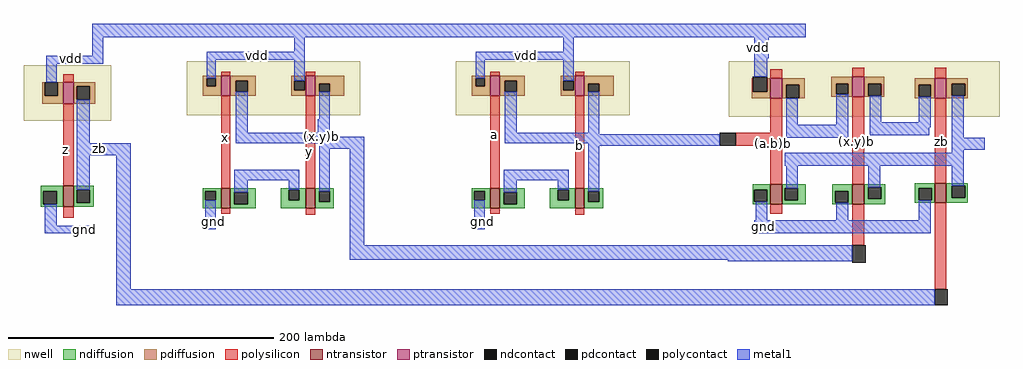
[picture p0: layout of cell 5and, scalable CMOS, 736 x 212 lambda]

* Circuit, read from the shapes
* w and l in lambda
.subckt 5and a b finalout gnd vdd x y z zb
M1 zb z gnd VSUBS nfet w=16 l=8
M2 n1 x gnd VSUBS nfet w=15 l=7
M3 n2 y n1 VSUBS nfet w=15 l=7
M4 n3 a gnd VSUBS nfet w=15 l=7
M5 n4 b n3 VSUBS nfet w=15 l=7
M6 finalout n4 gnd VSUBS nfet w=15 l=9
M7 finalout n2 gnd VSUBS nfet w=15 l=9
M8 finalout zb gnd VSUBS nfet w=15 l=9
M9 zb z vdd n5 pfet w=16 l=8
M10 n2 x vdd n6 pfet w=15 l=7
M11 n2 y vdd n6 pfet w=15 l=7
M12 n4 a vdd n7 pfet w=15 l=7
M13 n4 b vdd n7 pfet w=15 l=7
M14 n8 n4 vdd n9 pfet w=15 l=9
M15 n10 n2 n8 n9 pfet w=15 l=9
M16 finalout zb n10 n9 pfet w=15 l=9
.ends

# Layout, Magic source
magic
tech scmos
<< nwell >>
rect -187 -4 -121 38
rect -64 0 67 41
rect 139 0 270 41
rect 345 -1 549 41
<< ntransistor >>
rect -157 -69 -149 -53
rect -38 -70 -31 -55
rect 26 -70 33 -55
rect 165 -70 172 -55
rect 229 -70 236 -55
rect 376 -67 385 -52
rect 438 -67 447 -52
rect 500 -66 509 -51
<< ptransistor >>
rect -157 9 -149 25
rect -38 15 -31 30
rect 26 15 33 30
rect 165 15 172 30
rect 229 15 236 30
rect 376 13 385 28
rect 438 14 447 29
rect 500 13 509 28
<< ndiffusion >>
rect -174 -57 -157 -53
rect -174 -67 -172 -57
rect -162 -67 -157 -57
rect -174 -69 -157 -67
rect -149 -56 -134 -53
rect -149 -66 -147 -56
rect -137 -66 -134 -56
rect -149 -69 -134 -66
rect -52 -57 -38 -55
rect -52 -64 -50 -57
rect -42 -64 -38 -57
rect -52 -70 -38 -64
rect -31 -58 -12 -55
rect -31 -67 -28 -58
rect -18 -67 -12 -58
rect -31 -70 -12 -67
rect 7 -56 26 -55
rect 7 -64 13 -56
rect 21 -64 26 -56
rect 7 -70 26 -64
rect 33 -57 47 -55
rect 33 -65 36 -57
rect 44 -65 47 -57
rect 33 -70 47 -65
rect 151 -57 165 -55
rect 151 -64 153 -57
rect 161 -64 165 -57
rect 151 -70 165 -64
rect 172 -58 191 -55
rect 172 -67 175 -58
rect 185 -67 191 -58
rect 172 -70 191 -67
rect 210 -56 229 -55
rect 210 -64 216 -56
rect 224 -64 229 -56
rect 210 -70 229 -64
rect 236 -57 250 -55
rect 236 -65 239 -57
rect 247 -65 250 -57
rect 236 -70 250 -65
rect 363 -56 376 -52
rect 363 -65 364 -56
rect 374 -65 376 -56
rect 363 -67 376 -65
rect 385 -55 403 -52
rect 385 -64 387 -55
rect 397 -64 403 -55
rect 385 -67 403 -64
rect 423 -57 438 -52
rect 423 -66 425 -57
rect 435 -66 438 -57
rect 423 -67 438 -66
rect 447 -54 463 -52
rect 447 -63 450 -54
rect 460 -63 463 -54
rect 447 -67 463 -63
rect 485 -55 500 -51
rect 485 -64 488 -55
rect 498 -64 500 -55
rect 485 -66 500 -64
rect 509 -53 525 -51
rect 509 -62 513 -53
rect 523 -62 525 -53
rect 509 -66 525 -62
<< pdiffusion >>
rect -52 28 -38 30
rect -173 15 -171 25
rect -161 15 -157 25
rect -173 9 -157 15
rect -149 22 -133 25
rect -149 12 -147 22
rect -137 12 -133 22
rect -52 22 -49 28
rect -42 22 -38 28
rect -52 15 -38 22
rect -31 26 -12 30
rect -31 18 -27 26
rect -18 18 -12 26
rect -31 15 -12 18
rect 15 26 26 30
rect 15 19 17 26
rect 25 19 26 26
rect 15 15 26 19
rect 33 24 55 30
rect 33 18 36 24
rect 44 18 55 24
rect 33 15 55 18
rect 151 28 165 30
rect 151 22 154 28
rect 161 22 165 28
rect 151 15 165 22
rect 172 26 191 30
rect 172 18 176 26
rect 185 18 191 26
rect 172 15 191 18
rect 218 26 229 30
rect 218 19 220 26
rect 228 19 229 26
rect 218 15 229 19
rect 236 24 258 30
rect 236 18 239 24
rect 247 18 258 24
rect 236 15 258 18
rect 362 18 363 28
rect 374 18 376 28
rect -149 9 -133 12
rect 362 13 376 18
rect 385 23 402 28
rect 385 13 388 23
rect 398 13 402 23
rect 422 24 438 29
rect 422 16 426 24
rect 435 16 438 24
rect 422 14 438 16
rect 447 24 462 29
rect 447 15 450 24
rect 460 15 462 24
rect 447 14 462 15
rect 485 23 500 28
rect 485 14 488 23
rect 497 14 500 23
rect 485 13 500 14
rect 509 24 525 28
rect 509 15 513 24
rect 523 15 525 24
rect 509 13 525 15
<< ndcontact >>
rect -172 -67 -162 -57
rect -147 -66 -137 -56
rect -50 -64 -42 -57
rect -28 -67 -18 -58
rect 13 -64 21 -56
rect 36 -65 44 -57
rect 153 -64 161 -57
rect 175 -67 185 -58
rect 216 -64 224 -56
rect 239 -65 247 -57
rect 364 -65 374 -56
rect 387 -64 397 -55
rect 425 -66 435 -57
rect 450 -63 460 -54
rect 488 -64 498 -55
rect 513 -62 523 -53
<< pdcontact >>
rect -171 15 -161 25
rect -147 12 -137 22
rect -49 22 -42 28
rect -27 18 -18 26
rect 17 19 25 26
rect 36 18 44 24
rect 154 22 161 28
rect 176 18 185 26
rect 220 19 228 26
rect 239 18 247 24
rect 363 18 374 29
rect 388 13 398 23
rect 426 16 435 24
rect 450 15 460 24
rect 488 14 497 23
rect 513 15 523 24
<< polysilicon >>
rect -157 25 -149 31
rect -38 30 -31 33
rect 26 30 33 33
rect 165 30 172 33
rect 229 30 236 33
rect 376 28 385 35
rect 438 29 447 36
rect -157 -53 -149 9
rect -38 -55 -31 15
rect 26 -55 33 15
rect 165 -55 172 15
rect 229 -55 236 15
rect 500 28 509 36
rect 376 -13 385 13
rect 350 -23 385 -13
rect 376 -52 385 -23
rect 438 -52 447 14
rect 500 -51 509 13
rect -157 -77 -149 -69
rect -38 -74 -31 -70
rect 26 -75 33 -70
rect 165 -74 172 -70
rect 229 -75 236 -70
rect 376 -74 385 -67
rect 438 -98 447 -67
rect 500 -131 509 -66
<< polycontact >>
rect 338 -23 350 -13
rect 438 -111 448 -98
rect 500 -143 510 -131
<< metal1 >>
rect -135 59 403 69
rect -135 45 -127 59
rect 17 48 25 59
rect 220 48 228 59
rect -170 39 -127 45
rect -49 42 25 48
rect -170 25 -162 39
rect -49 28 -42 42
rect 17 26 25 42
rect -147 -21 -137 12
rect 154 42 228 48
rect 154 28 161 42
rect -27 -13 -18 18
rect 220 26 228 42
rect 364 43 375 59
rect 364 29 374 43
rect 36 -3 44 18
rect 35 -13 44 -3
rect -27 -16 44 -13
rect 176 -13 185 18
rect 239 -13 247 18
rect 388 -7 397 13
rect 426 -7 435 16
rect 176 -14 247 -13
rect -27 -21 70 -16
rect 176 -21 338 -14
rect -147 -30 -106 -21
rect -147 -56 -137 -30
rect -171 -83 -162 -67
rect -171 -89 -136 -83
rect -117 -131 -106 -30
rect 36 -25 70 -21
rect -28 -49 21 -41
rect -50 -86 -42 -64
rect -28 -58 -18 -49
rect 13 -56 21 -49
rect 36 -57 44 -25
rect 59 -98 70 -25
rect 239 -23 338 -21
rect 388 -17 435 -7
rect 451 -5 460 15
rect 488 -5 497 14
rect 451 -9 497 -5
rect 451 -15 496 -9
rect 513 -17 522 15
rect 175 -49 224 -41
rect 153 -86 161 -64
rect 175 -58 185 -49
rect 216 -56 224 -49
rect 239 -57 247 -23
rect 513 -26 538 -17
rect 513 -28 522 -26
rect 387 -38 522 -28
rect 388 -55 397 -38
rect 450 -54 459 -38
rect 513 -53 522 -38
rect 365 -79 374 -65
rect 426 -79 435 -66
rect 488 -79 497 -64
rect 364 -89 497 -79
rect 59 -109 438 -98
rect 344 -110 438 -109
rect -117 -143 500 -131
<< labels >>
rlabel polysilicon -35 -19 -34 -15 1 x
rlabel polysilicon 28 -29 29 -25 1 y
rlabel metal1 -44 -82 -43 -78 1 gnd
rlabel metal1 -11 43 -10 47 5 vdd
rlabel metal1 159 -82 160 -78 1 gnd
rlabel metal1 192 43 193 47 5 vdd
rlabel polysilicon -156 -27 -154 -25 1 z
rlabel metal1 -131 -26 -129 -24 1 zb
rlabel metal1 -152 42 -150 44 5 vdd
rlabel metal1 -142 -87 -140 -85 1 gnd
rlabel metal1 36 -20 39 -12 1 (x.y)b
rlabel polysilicon 166 -22 171 -7 1 a
rlabel polysilicon 230 -30 235 -15 1 b
rlabel metal1 242 -18 247 -13 1 (a.b)b
rlabel polysilicon 377 -23 380 -20 1 (a.b)b
rlabel polysilicon 441 -22 442 -18 1 (x.y)b
rlabel polysilicon 505 -22 506 -18 1 zb
rlabel metal1 366 49 368 53 1 vdd
rlabel metal1 370 -86 372 -81 1 gnd
rlabel metal1 525 -25 527 -20 1 finalout
<< end >>
